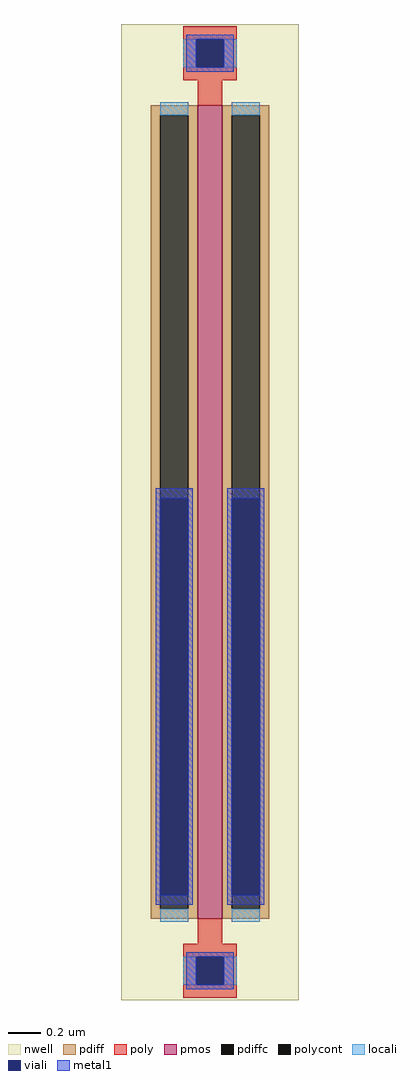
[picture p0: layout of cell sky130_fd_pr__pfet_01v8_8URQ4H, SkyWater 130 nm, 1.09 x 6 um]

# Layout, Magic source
magic
tech sky130A
magscale 1 2
<< nwell >>
rect -109 -600 109 600
<< pmos >>
rect -15 -500 15 500
<< pdiff >>
rect -73 488 -15 500
rect -73 -488 -61 488
rect -27 -488 -15 488
rect -73 -500 -15 -488
rect 15 488 73 500
rect 15 -488 27 488
rect 61 -488 73 488
rect 15 -500 73 -488
<< pdiffc >>
rect -61 -488 -27 488
rect 27 -488 61 488
<< poly >>
rect -33 581 33 597
rect -33 547 -17 581
rect 17 547 33 581
rect -33 531 33 547
rect -15 500 15 531
rect -15 -531 15 -500
rect -33 -547 33 -531
rect -33 -581 -17 -547
rect 17 -581 33 -547
rect -33 -597 33 -581
<< polycont >>
rect -17 547 17 581
rect -17 -581 17 -547
<< locali >>
rect -33 547 -17 581
rect 17 547 33 581
rect -61 488 -27 504
rect -61 -504 -27 -488
rect 27 488 61 504
rect 27 -504 61 -488
rect -33 -581 -17 -547
rect 17 -581 33 -547
<< viali >>
rect -17 547 17 581
rect -61 -471 -27 17
rect 27 -471 61 17
rect -17 -581 17 -547
<< metal1 >>
rect -29 581 29 587
rect -29 547 -17 581
rect 17 547 29 581
rect -29 541 29 547
rect -67 17 -21 29
rect -67 -471 -61 17
rect -27 -471 -21 17
rect -67 -483 -21 -471
rect 21 17 67 29
rect 21 -471 27 17
rect 61 -471 67 17
rect 21 -483 67 -471
rect -29 -547 29 -541
rect -29 -581 -17 -547
rect 17 -581 29 -547
rect -29 -587 29 -581
<< properties >>
string gencell sky130_fd_pr__pfet_01v8
string library sky130
string parameters w 5.0 l 0.15 m 1 nf 1 diffcov 100 polycov 100 guard 0 glc 1 grc 1 gtc 1 gbc 1 tbcov 100 rlcov 100 topc 1 botc 1 poverlap 0 doverlap 1 lmin 0.15 wmin 0.42 compatible {sky130_fd_pr__pfet_01v8  sky130_fd_pr__pfet_01v8_lvt sky130_fd_pr__pfet_01v8_hvt  sky130_fd_pr__pfet_g5v0d10v5} full_metal 1 viasrc +50 viadrn +50 viagate 100 viagb 0 viagr 0 viagl 0 viagt 0
<< end >>
